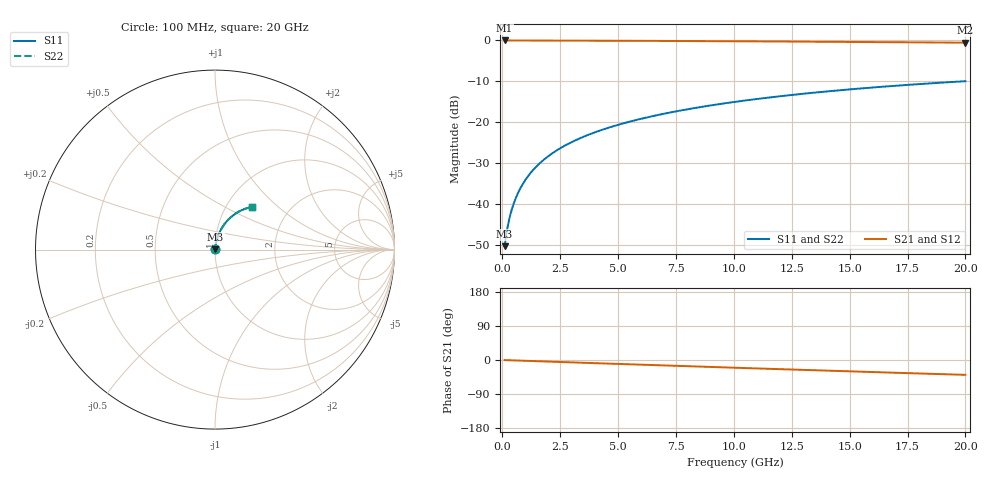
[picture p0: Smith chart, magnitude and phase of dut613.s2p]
! Touchstone file exported from HFSS 2026.1.0
!  File:  C:/ffzhzh/LocalFiles/Ansys_Project_Files/temp_train_BSMRDL_613_1783016275_51716.aedt
!  Generated:  02:19:24 AM Jul  3, 2026
!  Design:  BSMRDL
!  Project:  temp_train_BSMRDL_613_1783016275_51716
! Variables:
!  h_bsmrdl = 5.99um
!  h_ox = 20um
!  h_rdl = 5um
!  h_sub = 80um
!  h_tmrdl = 5um
!  h_tsv = 80um
!  h_via = 3um
!  l_bsmrdl = 613.26um
!  l_sub = 1013.26um
!  l_tmrdl = 200um
!  m_sub = 200um
!  pitch = 38.55um
!  r_tsv = 6um
!  s_tmrdl = 10um
!  w_bsmrdl = 17.85um
!  w_sub = 500um
!  w_tmrdl = 12um
!  x_tsv_center1 = 206um
!  x_tsv_center2 = 837.11um
!  x_tsv_center3 = 1049.11um
!  x_tsv_center4 = 1680.22um
!  x_tsv_center5 = 1892.22um
!  x_tsv_center6 = 2523.33um
# GHz S MA R 50.000000
! Terminal data exported
! Port[1] = BSM_RDL1_1_T1
! Port[2] = BSM_RDL1_1_T2
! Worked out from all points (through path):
!   200 points, 100 MHz to 20 GHz, reference 50 ohm
!   highest |S21| = -0.02 dB at 100 MHz (marker M1); lowest = -0.6 dB at 20 GHz (marker M2)
!   group delay of S21, straight-line fit = 5.44 ps
!   lowest |S11| = -50.4 dB at 100 MHz (marker M3), VSWR 1.01, Z = 50.2 + j0.211 ohm
!   |S11| at or under -10 dB: start of sweep to 19.99 GHz
!   |S22| runs from -50.4 to -10.0 dB; largest |S21 - S12| = 2.7e-15
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0.1  0.003018 44.0  0.9978 -0.2  0.9978 -0.2  0.003018 44.0
! Gamma 0 0 0 0
! Port Impedance 50 0 50 0
0.2  0.004695 60.3  0.9977 -0.4  0.9977 -0.4  0.004695 60.3
0.3  0.006482 67.6  0.9976 -0.6  0.9976 -0.6  0.006482 67.6
0.4  0.008309 71.8  0.9975 -0.9  0.9975 -0.9  0.008309 71.8
0.5  0.01016 74.5  0.9974 -1.1  0.9974 -1.1  0.01016 74.5
0.6  0.01203 76.3  0.9974 -1.3  0.9974 -1.3  0.01203 76.3
0.8  0.01581 78.5  0.9972 -1.7  0.9972 -1.7  0.01581 78.5
1.1  0.02149 80.0  0.9969 -2.3  0.9969 -2.3  0.02149 80.0
1.3  0.02528 80.5  0.9967 -2.8  0.9967 -2.8  0.02528 80.5
1.5  0.02906 80.6  0.9965 -3.2  0.9965 -3.2  0.02906 80.6
1.8  0.03471 80.6  0.996 -3.8  0.996 -3.8  0.03471 80.6
2.1  0.04031 80.4  0.9956 -4.4  0.9956 -4.4  0.04031 80.4
2.7  0.05138 79.7  0.9945 -5.7  0.9945 -5.7  0.05139 79.7
3.5  0.06589 78.4  0.993 -7.3  0.993 -7.3  0.06589 78.4
4.2  0.07836 77.2  0.9915 -8.8  0.9915 -8.8  0.07836 77.2
5  0.09241 75.9  0.9897 -10.4  0.9897 -10.4  0.09241 75.9
6.8  0.1233 72.7  0.9852 -14.0  0.9852 -14.0  0.1233 72.6
8.3  0.1483 69.9  0.981 -17.0  0.981 -17.0  0.1483 69.9
10.1  0.1774 66.7  0.9754 -20.5  0.9754 -20.5  0.1774 66.7
13.4  0.228 60.6  0.9638 -26.9  0.9638 -26.9  0.228 60.6
16.7  0.2745 54.7  0.9509 -33.1  0.9509 -33.1  0.2745 54.6
20  0.3164 48.8  0.9373 -39.2  0.9373 -39.2  0.3164 48.8
